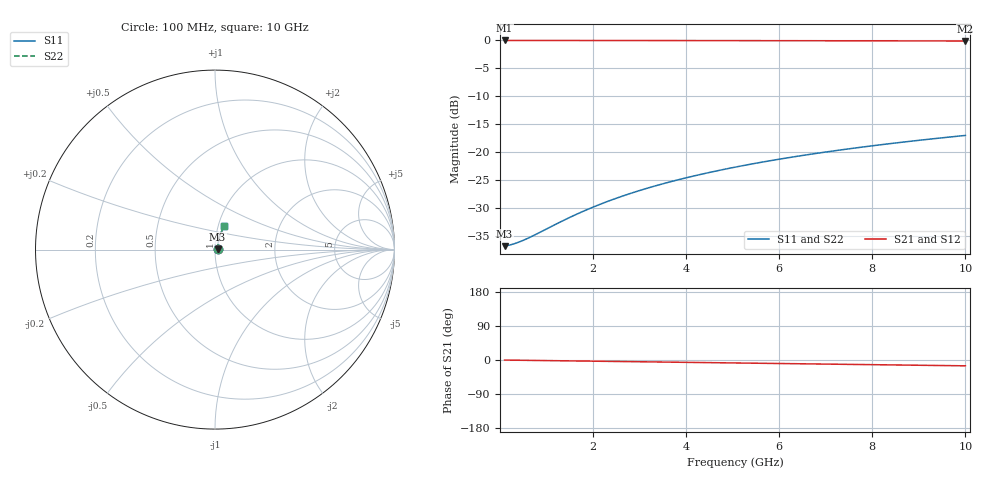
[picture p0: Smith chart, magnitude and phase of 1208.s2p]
# Hz S RI R 50.00
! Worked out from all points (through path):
!   100 points, 100 MHz to 10 GHz, reference 50 ohm
!   highest |S21| = -0.12 dB at 100 MHz (marker M1); lowest = -0.2 dB at 10 GHz (marker M2)
!   group delay of S21, straight-line fit = 4.27 ps
!   lowest |S11| = -36.9 dB at 100 MHz (marker M3), VSWR 1.03, Z = 51.4 + j0.142 ohm
!   |S11| at or under -10 dB: start of sweep to end of sweep
!   |S22| runs from -36.9 to -17.1 dB; largest |S21 - S12| = 0
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1e8  0.0142 0.00138  0.9857 -0.00266  0.9857 -0.00266  0.0142 0.00138
2e8  0.0144 0.00275  0.9856 -0.00532  0.9856 -0.00532  0.0144 0.00275
3e8  0.0144 0.00413  0.9855 -0.00799  0.9855 -0.00799  0.0144 0.00413
4e8  0.0145 0.00551  0.9855 -0.0106  0.9855 -0.0106  0.0145 0.00551
5e8  0.0146 0.00688  0.9854 -0.0133  0.9854 -0.0133  0.0146 0.00688
7e8  0.0148 0.00963  0.9852 -0.0186  0.9852 -0.0186  0.0148 0.00963
1.4e9  0.0155 0.0192  0.9843 -0.0372  0.9843 -0.0372  0.0155 0.0192
1.8e9  0.0161 0.0247  0.9836 -0.0478  0.9836 -0.0478  0.0161 0.0247
2.2e9  0.0167 0.0302  0.9828 -0.0584  0.9828 -0.0584  0.0167 0.0302
2.6e9  0.0175 0.0356  0.9819 -0.069  0.9819 -0.069  0.0175 0.0356
3e9  0.0184 0.041  0.9808 -0.0796  0.9808 -0.0796  0.0184 0.041
3.4e9  0.0194 0.0464  0.9796 -0.0901  0.9796 -0.0901  0.0194 0.0464
3.8e9  0.0205 0.0518  0.9782 -0.1006  0.9782 -0.1006  0.0205 0.0518
4.2e9  0.0217 0.0571  0.9767 -0.1111  0.9767 -0.1111  0.0217 0.0571
4.6e9  0.0231 0.0624  0.9751 -0.1216  0.9751 -0.1216  0.0231 0.0624
5.1e9  0.0249 0.069  0.9729 -0.1346  0.9729 -0.1346  0.0249 0.069
5.9e9  0.0282 0.0795  0.9688 -0.1553  0.9688 -0.1553  0.0282 0.0795
6.7e9  0.0319 0.0897  0.9643 -0.1758  0.9643 -0.1758  0.0319 0.0897
7.5e9  0.0361 0.0998  0.9592 -0.1962  0.9592 -0.1962  0.0361 0.0998
8.4e9  0.0412 0.1108  0.9528 -0.2188  0.9528 -0.2188  0.0412 0.1108
9.2e9  0.0463 0.1204  0.9466 -0.2387  0.9466 -0.2387  0.0463 0.1204
1e10  0.0517 0.1298  0.9399 -0.2584  0.9399 -0.2584  0.0517 0.1298
